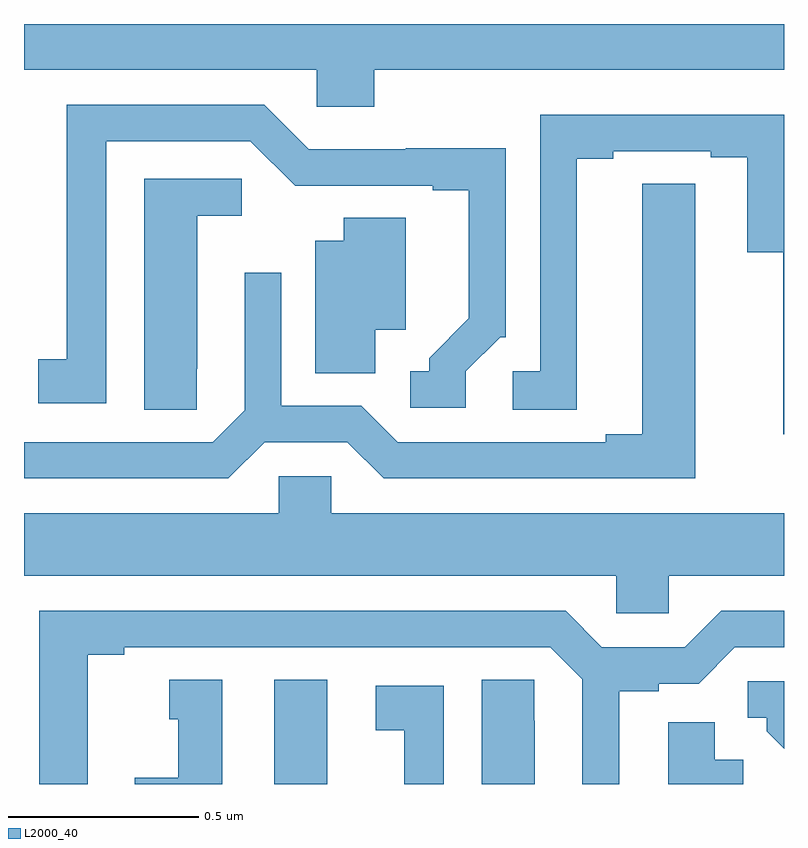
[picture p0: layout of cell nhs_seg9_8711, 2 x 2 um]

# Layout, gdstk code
import gdstk
lib = gdstk.Library(unit=1e-6, precision=1e-09)
def R(c, l, rs):  # rectangles x0, y0, x1, y1
    for r in rs: c.add(gdstk.rectangle(r[:2], r[2:], *l))
def P(c, l, *ps):  # polygons
    for p in ps: c.add(gdstk.Polygon(p, *l))
L2000_40 = (2000, 40)

nhs_seg9_8711 = lib.new_cell('nhs_seg9_8711')
R(nhs_seg9_8711, L2000_40, [(220.658,1234.5,220.798,1234.774)])
P(nhs_seg9_8711, L2000_40, [(220.922,1236.38),(222,1236.38),(222,1236.5),(220,1236.5),(220,1236.38),(220.77,1236.38),(220.77,1236.282),(220.922,1236.282)],
  [(221.163,1235.586),(221.253,1235.676),(221.268,1235.676),(221.268,1236.173),(221.005,1236.173),(221.005,1236.171),(220.749,1236.171),(220.632,1236.288),(220.112,1236.288),(220.112,1235.618),(220.038,1235.618),(220.038,1235.502),(220.216,1235.502),(220.216,1236.192),(220.596,1236.192),(220.714,1236.074),(220.81,1236.074),(220.81,1236.075),(221.075,1236.075),(221.075,1236.063),(221.171,1236.063),(221.171,1235.726),(221.066,1235.621),(221.066,1235.586),(221.016,1235.586),(221.016,1235.49),(221.163,1235.49)],
  [(222,1236.261),(221.358,1236.261),(221.358,1235.586),(221.286,1235.586),(221.286,1235.485),(221.455,1235.485),(221.455,1236.145),(221.551,1236.145),(221.551,1236.165),(221.807,1236.165),(221.807,1236.15),(221.903,1236.15),(221.903,1235.899),(221.998,1235.899),(221.998,1235.421),(222,1235.421)],
  [(220.455,1235.593),(220.456,1235.593),(220.456,1235.996),(220.573,1235.996),(220.573,1236.093),(220.316,1236.093),(220.316,1235.485),(220.455,1235.485)],
  [(220.633,1235.4),(220.851,1235.4),(220.947,1235.304),(221.767,1235.304),(221.767,1235.972),(221.766,1235.972),(221.766,1236.08),(221.627,1236.08),(221.627,1235.42),(221.531,1235.42),(221.531,1235.4),(220.983,1235.4),(220.887,1235.496),(220.677,1235.496),(220.677,1235.845),(220.581,1235.845),(220.581,1235.484),(220.497,1235.4),(220,1235.4),(220,1235.304),(220.537,1235.304)],
  [(220.924,1235.696),(221.005,1235.696),(221.005,1235.99),(220.841,1235.99),(220.841,1235.929),(220.766,1235.929),(220.766,1235.581),(220.924,1235.581)],
  [(221.697,1235.048),(222,1235.048),(222,1235.212),(220.809,1235.212),(220.809,1235.31),(220.671,1235.31),(220.671,1235.212),(220,1235.212),(220,1235.048),(221.559,1235.048),(221.559,1234.95),(221.697,1234.95)],
  [(220.168,1234.84),(220.264,1234.84),(220.264,1234.86),(221.385,1234.86),(221.469,1234.776),(221.469,1234.5),(221.566,1234.5),(221.566,1234.744),(221.67,1234.744),(221.67,1234.764),(221.775,1234.764),(221.871,1234.86),(222,1234.86),(222,1234.956),(221.835,1234.956),(221.739,1234.86),(221.521,1234.86),(221.425,1234.956),(220.04,1234.956),(220.04,1234.5),(220.168,1234.5)],
  [(221.344,1234.667),(221.343,1234.667),(221.343,1234.775),(221.204,1234.775),(221.204,1234.5),(221.344,1234.5)],
  [(220.522,1234.774),(220.382,1234.774),(220.382,1234.671),(220.406,1234.671),(220.406,1234.516),(220.292,1234.516),(220.292,1234.5),(220.522,1234.5)],
  [(222,1234.77),(221.904,1234.77),(221.904,1234.674),(221.954,1234.674),(221.954,1234.639),(222,1234.593)],
  [(221.104,1234.758),(220.926,1234.758),(220.926,1234.642),(221,1234.642),(221,1234.5),(221.104,1234.5)],
  [(221.893,1234.564),(221.818,1234.564),(221.818,1234.663),(221.696,1234.663),(221.696,1234.5),(221.893,1234.5)])

lib.write_gds('nhs_seg9_8711.gds')
